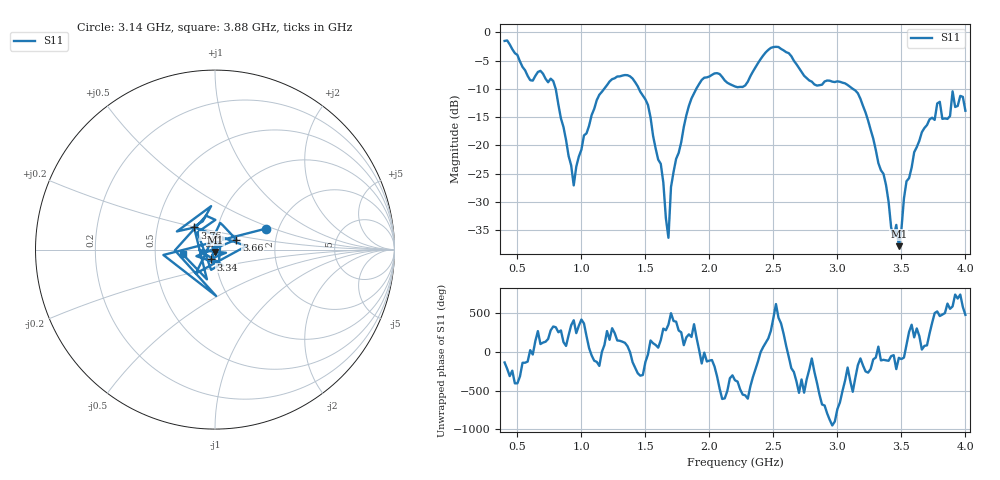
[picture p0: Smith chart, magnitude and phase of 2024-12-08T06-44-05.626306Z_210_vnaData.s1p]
!Created with skrf (http://scikit-rf.org).
# Hz S RI R 50.0
!freq ReS11 ImS11
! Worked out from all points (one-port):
!   181 points, 400 MHz to 4 GHz, reference 50 ohm
!   lowest |S11| = -37.8 dB at 3.48 GHz (marker M1), VSWR 1.03, Z = 50.2 - j1.27 ohm
!   |S11| at or under -10 dB: 799.3 MHz to 1.178 GHz (378.5 MHz wide, 38.3 % of centre); 1.45 GHz to 1.897 GHz (447.9 MHz wide, 26.8 % of centre); 3.121 GHz to end of sweep
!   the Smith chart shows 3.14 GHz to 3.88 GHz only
!   S11 on the Smith chart (normalised r, x): 3.14 GHz: 1.72, +0.44; 3.34 GHz: 0.95, -0.10; 3.66 GHz: 1.26, +0.14; 3.76 GHz: 0.77, +0.20; 3.88 GHz: 0.69, -0.04
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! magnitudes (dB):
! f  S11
! 400 MHz  -1.5
! 600 MHz  -8.5
! 780 MHz  -8.6
! 860 MHz  -16.7
! 940 MHz  -27.1
! 1.12 GHz  -12.0
! 1.3 GHz  -7.8
! 1.52 GHz  -12.8
! 1.62 GHz  -23.3
! 1.68 GHz  -36.3
! 1.7 GHz  -27.4
! 1.76 GHz  -21.3
! 1.84 GHz  -13.0
! 1.94 GHz  -8.4
! 2.2 GHz  -9.6
! 2.48 GHz  -2.7
! 2.66 GHz  -5.0
! 3.1 GHz  -9.6
! 3.14 GHz  -10.3
! 3.34 GHz  -24.4
! 3.48 GHz  -37.8
! 3.56 GHz  -25.8
! 3.66 GHz  -17.7
! 3.76 GHz  -15.5
! 3.8 GHz  -12.3
! 3.88 GHz  -14.8
! 3.9 GHz  -10.4
! 4 GHz  -13.9
